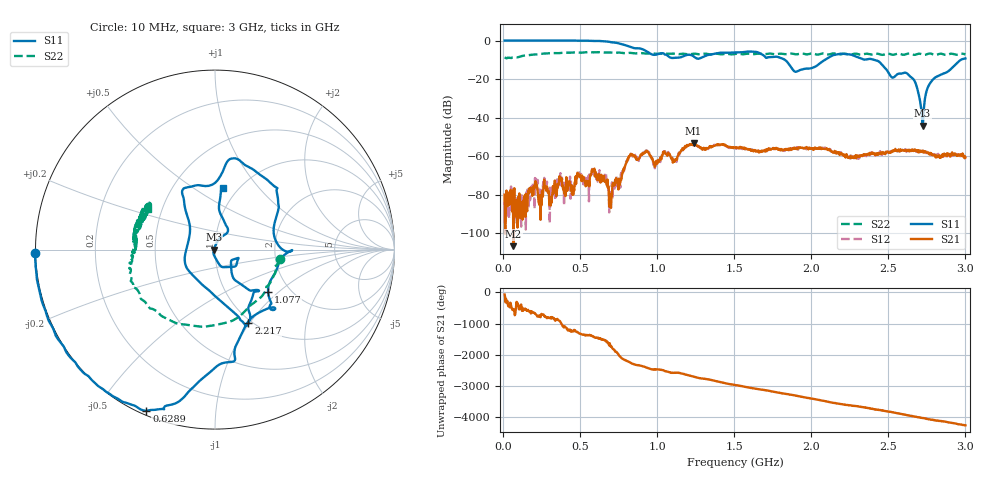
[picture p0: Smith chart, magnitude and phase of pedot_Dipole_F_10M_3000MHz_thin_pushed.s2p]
!  08/05/2026  14:34:44
! Ref Plane: 0.000 mm
# MHZ S MA R  50
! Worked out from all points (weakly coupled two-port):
!   1001 points, 10 MHz to 3 GHz, reference 50 ohm
!   highest |S21| = -53.31 dB at 1.236 GHz (marker M1); lowest = -106.6 dB at 66.81 MHz (marker M2)
!   lowest |S11| = -44.1 dB at 2.722 GHz (marker M3), VSWR 1.01, Z = 49.4 + j0.0528 ohm
!   |S11| at or under -10 dB: 1.829 GHz to 2.088 GHz (259.2 MHz wide, 13.2 % of centre); 2.407 GHz to 2.97 GHz (562.6 MHz wide, 20.9 % of centre)
!   |S22| runs from -9.2 to -6.0 dB; largest |S21 - S12| = 0.00027
!   S11 on the Smith chart (normalised r, x): 10 MHz: -0.00, -0.01; 628.9 MHz: 0.02, -0.66; 1.077 GHz: 1.55, -0.86; 2.217 GHz: 0.96, -0.99; 3 GHz: 0.86, +0.66
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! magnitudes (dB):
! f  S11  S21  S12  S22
! 10 MHz  0.0  -79.9  -90.0  -8.7
! 66.81 MHz  0.0  -106.6  -76.9  -8.7
! 243.2 MHz  0.0  -92.9  -87.3  -6.9
! 273.1 MHz  0.1  -75.5  -74.4  -6.7
! 306 MHz  0.0  -82.6  -76.3  -6.6
! 371.8 MHz  0.0  -71.1  -68.8  -6.4
! 449.5 MHz  0.0  -79.9  -77.8  -6.2
! 509.3 MHz  0.0  -72.9  -72.3  -6.3
! 628.9 MHz  -0.2  -70.4  -68.7  -6.1
! 694.7 MHz  -0.8  -79.4  -78.9  -6.2
! 829.3 MHz  -3.4  -58.7  -59.2  -6.4
! 1.009 GHz  -6.9  -63.0  -62.5  -6.9
! 1.077 GHz  -8.4  -59.1  -58.4  -6.8
! 1.236 GHz  -8.1  -53.3  -53.8  -6.8
! 1.505 GHz  -6.2  -55.4  -55.8  -6.9
! 2.004 GHz  -14.2  -56.1  -56.0  -6.7
! 2.217 GHz  -6.9  -60.0  -59.2  -6.8
! 2.504 GHz  -17.0  -58.2  -58.0  -6.8
! 2.656 GHz  -19.5  -56.5  -57.1  -7.2
! 2.722 GHz  -44.1  -57.7  -57.9  -7.2
! 2.785 GHz  -20.6  -59.3  -59.0  -7.0
! 3 GHz  -9.2  -60.6  -60.8  -7.2
